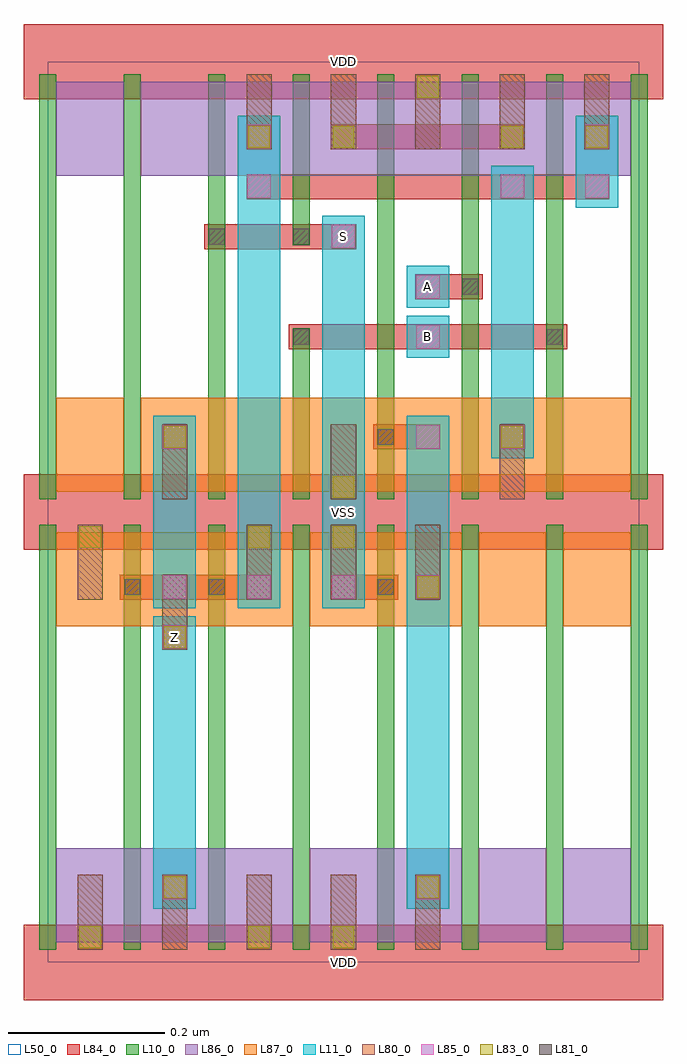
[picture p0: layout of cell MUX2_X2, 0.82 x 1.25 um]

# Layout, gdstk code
import gdstk
lib = gdstk.Library(unit=1e-6, precision=1e-09)
def R(c, l, rs):  # rectangles x0, y0, x1, y1
    for r in rs: c.add(gdstk.rectangle(r[:2], r[2:], *l))
def A(c, l, x, y, w, h, nx, ny, dx, dy):  # array of equal rectangles
    R(c, l, [(x+i*dx, y+j*dy, x+i*dx+w, y+j*dy+h) for i in range(nx) for j in range(ny)])
L10_0 = (10, 0)
L11_0 = (11, 0)
L50_0 = (50, 0)
L80_0 = (80, 0)
L81_0 = (81, 0)
L83_0 = (83, 0)
L84_0 = (84, 0)
L85_0 = (85, 0)
L86_0 = (86, 0)
L87_0 = (87, 0)

mux2_x2 = lib.new_cell('MUX2_X2')
A(mux2_x2, L10_0, -0.011, 0.016, 0.022, 0.544, 8, 1, 0.108, 0)
A(mux2_x2, L10_0, -0.011, 0.592, 0.022, 0.544, 3, 1, 0.108, 0)
A(mux2_x2, L10_0, 0.421, 0.592, 0.022, 0.544, 4, 1, 0.108, 0)
R(mux2_x2, L10_0, [(0.313,0.592,0.335,0.811), (0.313,0.917,0.335,1.136)])
R(mux2_x2, L11_0, [(0.135,0.069,0.189,0.443), (0.459,0.069,0.513,0.699), (0.135,0.453,0.189,0.699), (0.243,0.453,0.297,1.083), (0.351,0.453,0.405,0.955), (0.567,0.645,0.621,1.019), (0.459,0.773,0.513,0.827), (0.459,0.837,0.513,0.891), (0.675,0.965,0.729,1.083)])
R(mux2_x2, L50_0, [(0,0,0.756,1.152)])
A(mux2_x2, L80_0, 0.038, 0.016, 0.032, 0.096, 5, 1, 0.108, 0)
A(mux2_x2, L80_0, 0.254, 0.464, 0.032, 0.096, 3, 1, 0.108, 0)
A(mux2_x2, L80_0, 0.146, 0.592, 0.032, 0.096, 3, 1, 0.216, 0)
A(mux2_x2, L80_0, 0.254, 1.04, 0.032, 0.096, 5, 1, 0.108, 0)
R(mux2_x2, L80_0, [(0.146,0.4,0.178,0.496), (0.038,0.464,0.07,0.56)])
R(mux2_x2, L81_0, [(0.098,0.47,0.118,0.49), (0.206,0.47,0.226,0.49), (0.422,0.47,0.442,0.49), (0.422,0.662,0.442,0.682), (0.314,0.79,0.334,0.81), (0.638,0.79,0.658,0.81), (0.53,0.854,0.55,0.874), (0.206,0.918,0.226,0.938), (0.314,0.918,0.334,0.938)])
A(mux2_x2, L83_0, 0.256, 0.018, 0.028, 0.028, 1, 3, 0, 0.512)
R(mux2_x2, L83_0, [(0.04,0.018,0.068,0.046), (0.364,0.018,0.392,0.046), (0.148,0.082,0.176,0.11), (0.472,0.082,0.5,0.11), (0.148,0.402,0.176,0.43), (0.472,0.466,0.5,0.494), (0.04,0.53,0.068,0.558), (0.364,0.53,0.392,0.558), (0.364,0.594,0.392,0.622), (0.148,0.658,0.176,0.686), (0.58,0.658,0.608,0.686), (0.364,1.042,0.392,1.07), (0.58,1.042,0.608,1.07), (0.688,1.042,0.716,1.07), (0.472,1.106,0.5,1.134)])
A(mux2_x2, L84_0, -0.031, -0.048, 0.818, 0.096, 1, 3, 0, 0.576)
R(mux2_x2, L84_0, [(0.146,0.08,0.178,0.112), (0.47,0.08,0.502,0.112), (0.146,0.4,0.178,0.432), (0.092,0.464,0.286,0.496), (0.362,0.464,0.448,0.496), (0.47,0.464,0.502,0.496), (0.146,0.656,0.178,0.688), (0.416,0.656,0.502,0.688), (0.578,0.656,0.61,0.688), (0.308,0.784,0.664,0.816), (0.47,0.848,0.556,0.88), (0.2,0.912,0.394,0.944), (0.254,0.976,0.718,1.008), (0.254,1.04,0.286,1.072), (0.362,1.04,0.61,1.072), (0.686,1.04,0.718,1.072)])
A(mux2_x2, L85_0, 0.147, 0.465, 0.03, 0.03, 4, 1, 0.108, 0)
R(mux2_x2, L85_0, [(0.147,0.081,0.177,0.111), (0.471,0.081,0.501,0.111), (0.147,0.401,0.177,0.431), (0.147,0.657,0.177,0.687), (0.471,0.657,0.501,0.687), (0.579,0.657,0.609,0.687), (0.471,0.785,0.501,0.815), (0.471,0.849,0.501,0.879), (0.363,0.913,0.393,0.943), (0.255,0.977,0.285,1.007), (0.579,0.977,0.609,1.007), (0.687,0.977,0.717,1.007), (0.255,1.041,0.285,1.071), (0.687,1.041,0.717,1.071)])
R(mux2_x2, L86_0, [(0.011,0.026,0.313,0.146), (0.335,0.026,0.529,0.146), (0.551,0.026,0.637,0.146), (0.659,0.026,0.745,0.146), (0.011,1.006,0.097,1.126), (0.119,1.006,0.745,1.126)])
R(mux2_x2, L87_0, [(0.011,0.43,0.313,0.55), (0.335,0.43,0.529,0.55), (0.551,0.43,0.637,0.55), (0.659,0.43,0.745,0.55), (0.011,0.602,0.097,0.722), (0.119,0.602,0.745,0.722)])
mux2_x2.add(gdstk.Label('VDD', (0.378,1.152), layer=88, texttype=0))
mux2_x2.add(gdstk.Label('VDD', (0.378,0), layer=88, texttype=0))
mux2_x2.add(gdstk.Label('VSS', (0.378,0.576), layer=88, texttype=0))
mux2_x2.add(gdstk.Label('S', (0.378,0.928), layer=31, texttype=0))
mux2_x2.add(gdstk.Label('Z', (0.162,0.416), layer=31, texttype=0))
mux2_x2.add(gdstk.Label('B', (0.486,0.8), layer=31, texttype=0))
mux2_x2.add(gdstk.Label('A', (0.486,0.864), layer=31, texttype=0))

lib.write_gds('MUX2_X2.gds')
